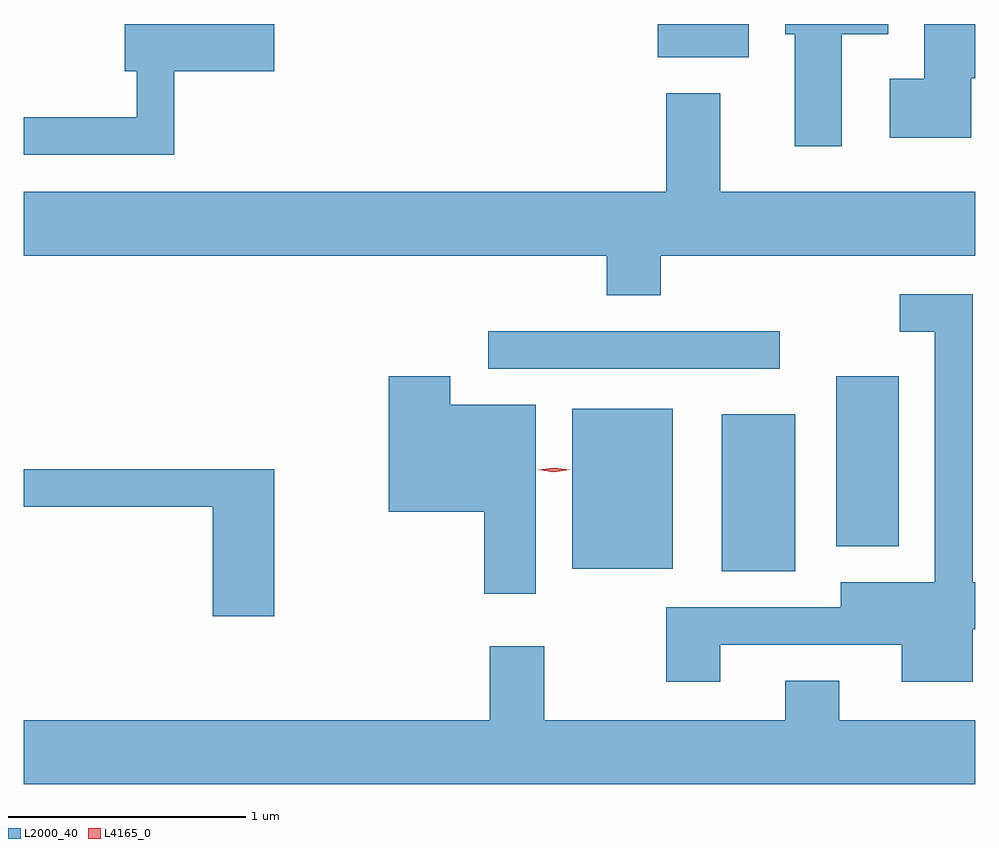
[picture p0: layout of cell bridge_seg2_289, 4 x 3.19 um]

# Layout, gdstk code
import gdstk
lib = gdstk.Library(unit=1e-6, precision=1e-09)
def R(c, l, rs):  # rectangles x0, y0, x1, y1
    for r in rs: c.add(gdstk.rectangle(r[:2], r[2:], *l))
def P(c, l, *ps):  # polygons
    for p in ps: c.add(gdstk.Polygon(p, *l))
L2000_40 = (2000, 40)
L4165_0 = (4165, 0)

bridge_seg2_289 = lib.new_cell('bridge_seg2_289')
R(bridge_seg2_289, L2000_40, [(607.756,1102.491,608.064,1103.149), (607.126,1102.501,607.549,1103.174), (608.236,1102.596,608.499,1103.309), (606.773,1103.341,607.998,1103.499), (607.486,1104.651,607.869,1104.79)])
P(bridge_seg2_289, L2000_40, [(608.259,1104.746),(608.454,1104.746),(608.454,1104.79),(608.021,1104.79),(608.021,1104.746),(608.061,1104.746),(608.061,1104.276),(608.259,1104.276)],
  [(608.804,1104.561),(608.821,1104.561),(608.821,1104.79),(608.606,1104.79),(608.606,1104.559),(608.461,1104.559),(608.461,1104.311),(608.804,1104.311)],
  [(605.454,1104.591),(605.874,1104.591),(605.874,1104.789),(605.246,1104.789),(605.246,1104.591),(605.296,1104.591),(605.296,1104.399),(604.821,1104.399),(604.821,1104.241),(605.454,1104.241)],
  [(607.499,1103.816),(608.821,1103.816),(608.821,1104.084),(607.749,1104.084),(607.749,1104.499),(607.521,1104.499),(607.521,1104.084),(604.821,1104.084),(604.821,1103.816),(607.271,1103.816),(607.271,1103.651),(607.499,1103.651)],
  [(607.749,1102.181),(608.511,1102.181),(608.511,1102.026),(608.809,1102.026),(608.809,1102.246),(608.821,1102.246),(608.821,1102.444),(608.809,1102.444),(608.809,1103.654),(608.503,1103.654),(608.503,1103.496),(608.651,1103.496),(608.651,1102.444),(608.256,1102.444),(608.256,1102.339),(607.521,1102.339),(607.521,1102.026),(607.749,1102.026)],
  [(606.974,1103.189),(606.614,1103.189),(606.614,1103.309),(606.356,1103.309),(606.356,1102.741),(606.756,1102.741),(606.756,1102.396),(606.974,1102.396)],
  [(605.874,1102.919),(604.821,1102.919),(604.821,1102.761),(605.616,1102.761),(605.616,1102.301),(605.874,1102.301)],
  [(608.021,1102.029),(608.021,1101.864),(607.009,1101.864),(607.009,1102.174),(606.781,1102.174),(606.781,1101.864),(604.821,1101.864),(604.821,1101.596),(608.821,1101.596),(608.821,1101.864),(608.249,1101.864),(608.249,1102.029)])
P(bridge_seg2_289, L4165_0, [(607.05,1102.906),(606.984,1102.916),(606.983,1102.916),(606.984,1102.917),(607.05,1102.926),(607.116,1102.917),(607.116,1102.916),(607.116,1102.916)])

lib.write_gds('bridge_seg2_289.gds')
